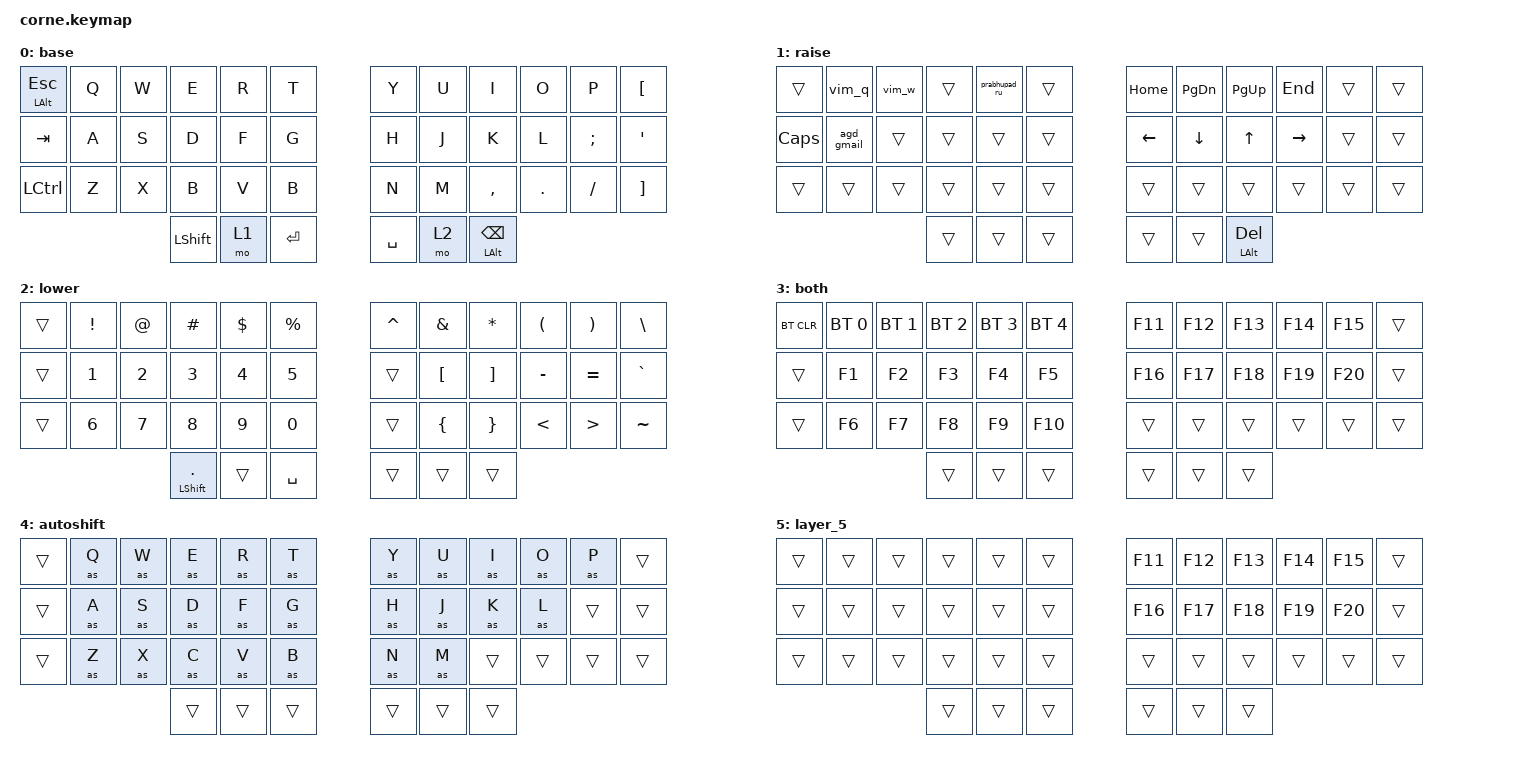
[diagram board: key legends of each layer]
#include <behaviors.dtsi>
#include <dt-bindings/zmk/bt.h>
#include <dt-bindings/zmk/keys.h>
#include <dt-bindings/zmk/rgb.h>

// dt-formatter: indent = "  "
// dt-formatter: multilineIntegerCellsIndent = "reindent"
// dt-formatter: multilineListCommaStyle = "leading"

&sk { /delete-property/ ignore-modifiers; };

/ {
  macros {
    shift: with_lshift {
      compatible = "zmk,behavior-macro-one-param";
      #binding-cells = <1>;
      label = "KEY_PRESS_WITH_LEFT_SHIFT_MODIFIER";
      bindings
        = <&macro_press>
        , <&kp LSHFT>
        , <&macro_tap>
        , <&macro_param_1to1 &kp MACRO_PLACEHOLDER>
        , <&macro_release>
        , <&kp LSHFT>
        ;
    };

    as: autoshift {
      compatible = "zmk,behavior-macro-one-param";
      #binding-cells = <1>;
      label = "AUTOSHIFT_KEYPRESS";
      bindings
        = <&macro_press>
        , <&macro_param_1to1 &macro_param_1to2 &as_ht MACRO_PLACEHOLDER MACRO_PLACEHOLDER>
        , <&macro_pause_for_release>
        , <&macro_release>
        , <&macro_param_1to1 &macro_param_1to2 &as_ht MACRO_PLACEHOLDER MACRO_PLACEHOLDER>
        ;
    };

    vim_w: vim_w {
      compatible = "zmk,behavior-macro";
      #binding-cells = <0>;
      bindings = <&kp ESCAPE &kp COLON &kp W &kp A &kp ENTER>;
      label = "VIM_W";
    };

    agd_gmail: agd_gmail {
      compatible = "zmk,behavior-macro";
      #binding-cells = <0>;
      bindings = <&kp A &kp D &kp B &kp H &kp U &kp T &kp A &kp G &kp A &kp U &kp R &kp A &kp N &kp G &kp A &kp D &kp A &kp S &kp DOT &kp G &kp K &kp G &kp AT &kp G &kp M &kp A &kp I &kp L &kp DOT &kp C &kp O &kp M>;
      label = "AGD_GMAIL";
    };

    prabhupad_ru: prabhupad_ru {
      compatible = "zmk,behavior-macro";
      #binding-cells = <0>;
      bindings = <&kp LS(G) &kp H &kp F &kp COMMA &kp LBKT &kp E &kp G &kp F &kp L>;
      label = "PRABHUPAD_RU";
    };

    vim_q: vim_q {
      compatible = "zmk,behavior-macro";
      #binding-cells = <0>;
      bindings = <&kp COLON &kp Q &kp A &kp ENTER>;
      label = "VIM_Q";
    };
  };

  behaviors {
    as_ht: autoshift_hold_tap {
      compatible = "zmk,behavior-hold-tap";
      #binding-cells = <2>;
      label = "AUTOSHIFT_HOLD_TAP";
      bindings = <&shift>, <&kp>;

      tapping-term-ms = <190>;
    };

    hml: homewrow_mods_left {
      compatible = "zmk,behavior-hold-tap";
      #binding-cells = <2>;
      label = "HOMEROW_MODS_LEFT_HAND";
      bindings = <&kp>, <&kp>;

      tapping-term-ms = <300>;
      hold-trigger-key-positions = <6 7 8 9 10 11 18 19 20 21 22 23 30 31 32 33 34 35 39 40 41>;
    };

    hmr: homewrow_mods_right {
      compatible = "zmk,behavior-hold-tap";
      #binding-cells = <2>;
      label = "HOMEROW_MODS_RIGHT_HAND";
      bindings = <&kp>, <&kp>;

      tapping-term-ms = <300>;
      hold-trigger-key-positions = <0 1 2 3 4 5 12 13 14 15 16 17 24 25 26 27 28 29 36 37 38>;
    };

    capdance: capdance {
      compatible = "zmk,behavior-tap-dance";
      label = "CAPDANCE";
      #binding-cells = <0>;
      bindings = <&caps_word>, <&kp CAPS>;
    };

    volknob: volume_encoder {
      compatible = "zmk,behavior-sensor-rotate";
      label = "ENCODER_VOLUME_KNOB";
      #sensor-binding-cells = <0>;
      bindings = <&kp C_VOL_UP>, <&kp C_VOL_DN>;
    };

    rgbknob: rgb_encoder {
      compatible = "zmk,behavior-sensor-rotate-var";
      label = "ENCODER_RGB";
      #sensor-binding-cells = <2>;
      bindings = <&rgb_ug>, <&rgb_ug>;
    };
  };

  conditional_layers {
    compatible = "zmk,conditional-layers";

    tri_layer {
      if-layers = <1 2>;
      then-layer = <3>;
    };
  };

  combos {
    compatible = "zmk,combos";

    copy {
      bindings = <&kp LG(C)>;
      key-positions = <26 27 28>;
    };

    paste {
      bindings = <&kp LG(V)>;
      key-positions = <27 28 29>;
    };

    undo {
      bindings = <&kp LG(Z)>;
      key-positions = <25 26 27>;
    };

    backspace {
      bindings = <&kp BACKSPACE>;
      key-positions = <22 23>;
    };

    del {
      bindings = <&kp DELETE>;
      key-positions = <34 35>;
    };

    select_all {
      bindings = <&kp LG(A)>;
      key-positions = <13 14 15>;
    };

    cmd_right {
      bindings = <&kp LGUI>;
      key-positions = <19 20>;
    };

    cmd_left {
      bindings = <&kp LGUI>;
      key-positions = <15 16>;
    };

    quit {
      bindings = <&kp LG(Q)>;
      key-positions = <1 2 3>;
    };

    close {
      bindings = <&kp LG(W)>;
      key-positions = <2 3 4>;
    };

    tab {
      bindings = <&kp LG(T)>;
      key-positions = <3 4 5>;
    };

    window {
      bindings = <&kp LG(N)>;
      key-positions = <30 31 32>;
    };

    meta_left {
      bindings = <&kp LS(LA(LC(LEFT_GUI)))>;
      key-positions = <13 14 15 16>;
    };

    right_meta {
      bindings = <&kp LS(LA(LC(LEFT_GUI)))>;
      key-positions = <19 20 21 22>;
    };

    tog5 {
      bindings = <&tog 5>;
      key-positions = <0 12 24>;
    };

    play {
      bindings = <&kp C_PLAY_PAUSE>;
      key-positions = <7 8 9>;
    };

    rewind {
      bindings = <&kp C_REWIND>;
      key-positions = <6 7 8>;
    };

    fast-forward {
      bindings = <&kp C_FAST_FORWARD>;
      key-positions = <8 9 10>;
    };
  };

  keymap {
    compatible = "zmk,keymap";

    base {
      bindings = <
        &mt LEFT_ALT ESCAPE  &kp Q  &kp W  &kp E           &kp R  &kp T        &kp Y      &kp U  &kp I                   &kp O    &kp P          &kp LEFT_BRACKET
        &kp TAB              &kp A  &kp S  &kp D           &kp F  &kp G        &kp H      &kp J  &kp K                   &kp L    &kp SEMICOLON  &kp APOS
        &kp LEFT_CONTROL     &kp Z  &kp X  &kp B           &kp V  &kp B        &kp N      &kp M  &kp COMMA               &kp DOT  &kp FSLH       &kp RIGHT_BRACKET
                                           &kp LEFT_SHIFT  &mo 1  &kp ENTER    &kp SPACE  &mo 2  &mt LEFT_ALT BACKSPACE
      >;
    };

    raise {
      bindings = <
        &trans        &vim_q      &vim_w  &trans  &prabhupad_ru  &trans    &kp HOME  &kp PAGE_DOWN  &kp PG_UP            &kp END    &trans  &trans
        &kp CAPSLOCK  &agd_gmail  &trans  &trans  &trans         &trans    &kp LEFT  &kp DOWN       &kp UP               &kp RIGHT  &trans  &trans
        &trans        &trans      &trans  &trans  &trans         &trans    &trans    &trans         &trans               &trans     &trans  &trans
                                          &trans  &trans         &trans    &trans    &trans         &mt LEFT_ALT DELETE
      >;
    };

    lower {
      bindings = <
        &trans  &kp EXCLAMATION  &kp AT_SIGN  &kp HASH               &kp DOLLAR  &kp PERCENT    &kp CARET  &kp AMPERSAND     &kp ASTERISK       &kp LEFT_PARENTHESIS  &kp RIGHT_PARENTHESIS  &kp BACKSLASH
        &trans  &kp N1           &kp N2       &kp N3                 &kp N4      &kp N5         &trans     &kp LEFT_BRACKET  &kp RIGHT_BRACKET  &kp MINUS             &kp EQUAL              &kp GRAVE
        &trans  &kp N6           &kp N7       &kp N8                 &kp N9      &kp N0         &trans     &kp LEFT_BRACE    &kp RIGHT_BRACE    &kp LESS_THAN         &kp GREATER_THAN       &kp TILDE
                                              &mt LEFT_SHIFT PERIOD  &trans      &kp SPACE      &trans     &trans            &trans
      >;
    };

    both {
      bindings = <
        &bt BT_CLR  &bt BT_SEL 0  &bt BT_SEL 1  &bt BT_SEL 2  &bt BT_SEL 3  &bt BT_SEL 4    &kp F11  &kp F12  &kp F13  &kp F14  &kp F15  &trans
        &trans      &kp F1        &kp F2        &kp F3        &kp F4        &kp F5          &kp F16  &kp F17  &kp F18  &kp F19  &kp F20  &trans
        &trans      &kp F6        &kp F7        &kp F8        &kp F9        &kp F10         &trans   &trans   &trans   &trans   &trans   &trans
                                                &trans        &trans        &trans          &trans   &trans   &trans
      >;
    };

    autoshift {
      bindings = <
        &trans  &as Q  &as W  &as E   &as R   &as T     &as Y   &as U   &as I   &as O   &as P   &trans
        &trans  &as A  &as S  &as D   &as F   &as G     &as H   &as J   &as K   &as L   &trans  &trans
        &trans  &as Z  &as X  &as C   &as V   &as B     &as N   &as M   &trans  &trans  &trans  &trans
                              &trans  &trans  &trans    &trans  &trans  &trans
      >;
    };

    layer_5 {
      bindings = <
        &trans  &trans  &trans  &trans  &trans  &trans    &kp F11  &kp F12  &kp F13  &kp F14  &kp F15  &trans
        &trans  &trans  &trans  &trans  &trans  &trans    &kp F16  &kp F17  &kp F18  &kp F19  &kp F20  &trans
        &trans  &trans  &trans  &trans  &trans  &trans    &trans   &trans   &trans   &trans   &trans   &trans
                                &trans  &trans  &trans    &trans   &trans   &trans
      >;
    };
  };
};
